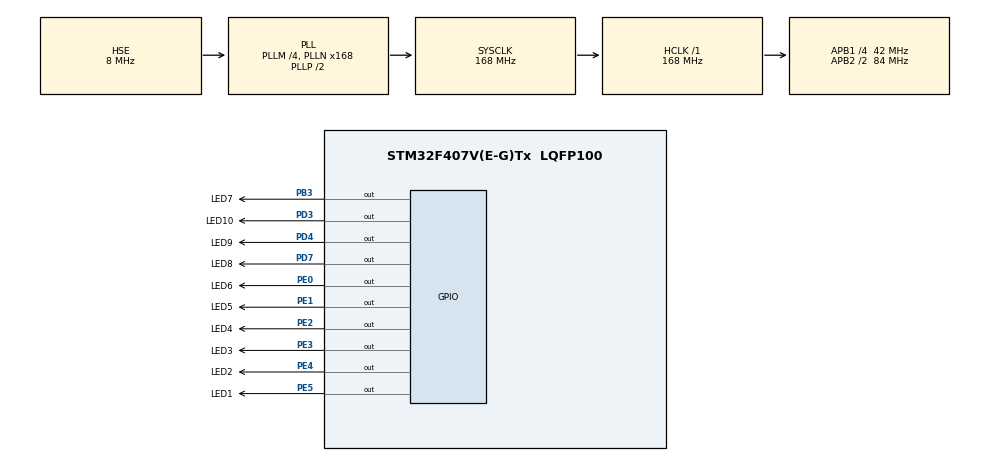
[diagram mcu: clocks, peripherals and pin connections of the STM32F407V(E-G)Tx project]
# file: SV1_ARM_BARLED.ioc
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Mcu.Family=STM32F4
Mcu.Name=STM32F407V(E-G)Tx
Mcu.Package=LQFP100
NVIC.PriorityGroup=NVIC_PRIORITYGROUP_4
PA13.Mode=Serial_Wire
PA13.Signal=SYS_JTMS-SWDIO
PA14.Mode=Serial_Wire
PA14.Signal=SYS_JTCK-SWCLK
PB3.GPIO_Label=LED7
PB3.Signal=GPIO_Output
PD3.GPIO_Label=LED10
PD3.Signal=GPIO_Output
PD4.GPIO_Label=LED9
PD4.Signal=GPIO_Output
PD7.GPIO_Label=LED8
PD7.Signal=GPIO_Output
PE0.GPIO_Label=LED6
PE0.Signal=GPIO_Output
PE1.GPIO_Label=LED5
PE1.Signal=GPIO_Output
PE2.GPIO_Label=LED4
PE2.Signal=GPIO_Output
PE3.GPIO_Label=LED3
PE3.Signal=GPIO_Output
PE4.GPIO_Label=LED2
PE4.GPIO_Speed=GPIO_SPEED_FREQ_LOW
PE4.Signal=GPIO_Output
PE5.GPIO_Label=LED1
PE5.Signal=GPIO_Output
PH0-OSC_IN.Mode=HSE-External-Oscillator
PH0-OSC_IN.Signal=RCC_OSC_IN
PH1-OSC_OUT.Mode=HSE-External-Oscillator
PH1-OSC_OUT.Signal=RCC_OSC_OUT
ProjectManager.HeapSize=0x200
ProjectManager.StackSize=0x400
ProjectManager.TargetToolchain=STM32CubeIDE
RCC.48MHZClocksFreq_Value=84000000
RCC.AHBFreq_Value=168000000
RCC.APB1CLKDivider=RCC_HCLK_DIV4
RCC.APB1Freq_Value=42000000
RCC.APB1TimFreq_Value=84000000
RCC.APB2CLKDivider=RCC_HCLK_DIV2
RCC.APB2Freq_Value=84000000
RCC.APB2TimFreq_Value=168000000
RCC.CortexFreq_Value=168000000
RCC.HCLKFreq_Value=168000000
RCC.HSE_VALUE=8000000
RCC.HSI_VALUE=16000000
RCC.LSE_VALUE=32768
RCC.PLLM=4
RCC.PLLN=168
RCC.PLLSourceVirtual=RCC_PLLSOURCE_HSE
RCC.SYSCLKFreq_VALUE=168000000
RCC.SYSCLKSource=RCC_SYSCLKSOURCE_PLLCLK
RCC.VCOOutputFreq_Value=336000000
board=custom

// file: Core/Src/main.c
/* USER CODE BEGIN Header */
/**
  ******************************************************************************
  * @file           : main.c
  * @brief          : Main program body
  ******************************************************************************
  * @attention
  *
  * <h2><center>&copy; Copyright (c) 2020 STMicroelectronics.
  * All rights reserved.</center></h2>
  *
  * This software component is licensed by ST under BSD 3-Clause license,
  * the "License"; You may not use this file except in compliance with the
  * License. You may obtain a copy of the License at:
  *                        opensource.org/licenses/BSD-3-Clause
  *
  ******************************************************************************
  */
/* USER CODE END Header */
#include "main.h"

/* USER CODE BEGIN Includes */
#define Time 100
/* USER CODE END Includes */

void SystemClock_Config(void);
static void MX_GPIO_Init(void);

int main(void)
{

  /* MCU Configuration--------------------------------------------------------*/

  /* Reset of all peripherals, Initializes the Flash interface and the Systick. */
  HAL_Init();

  /* Configure the system clock */
  SystemClock_Config();

  /* Initialize all configured peripherals */
  MX_GPIO_Init();

  /* Infinite loop */
  /* USER CODE BEGIN WHILE */
  while (1)
  {
	  	  HAL_GPIO_TogglePin(LED1_GPIO_Port, LED1_Pin);
	  	  HAL_Delay(Time);
	  	  HAL_GPIO_TogglePin(LED2_GPIO_Port, LED2_Pin);
	  	  HAL_Delay(Time);
	  	  HAL_GPIO_TogglePin(LED3_GPIO_Port, LED3_Pin);
	  	  HAL_Delay(Time);
	  	  HAL_GPIO_TogglePin(LED4_GPIO_Port, LED4_Pin);
	  	  HAL_Delay(Time);
	  	  HAL_GPIO_TogglePin(LED5_GPIO_Port, LED5_Pin);
	  	  HAL_Delay(Time);
	  	  HAL_GPIO_TogglePin(LED6_GPIO_Port, LED6_Pin);
	  	  HAL_Delay(Time);
	  	  HAL_GPIO_TogglePin(LED7_GPIO_Port, LED7_Pin);
	  	  HAL_Delay(Time);
	  	  HAL_GPIO_TogglePin(LED8_GPIO_Port, LED8_Pin);
	  	  HAL_Delay(Time);
	  	  HAL_GPIO_TogglePin(LED9_GPIO_Port, LED9_Pin);
	  	  HAL_Delay(Time);
	  	  HAL_GPIO_TogglePin(LED10_GPIO_Port, LED10_Pin);
	  	  HAL_Delay(Time);

    /* USER CODE END WHILE */

  }
}

void SystemClock_Config(void)
{
  RCC_OscInitTypeDef RCC_OscInitStruct = {0};
  RCC_ClkInitTypeDef RCC_ClkInitStruct = {0};

  /** Configure the main internal regulator output voltage
  */
  __HAL_RCC_PWR_CLK_ENABLE();
  __HAL_PWR_VOLTAGESCALING_CONFIG(PWR_REGULATOR_VOLTAGE_SCALE1);
  /** Initializes the RCC Oscillators according to the specified parameters
  * in the RCC_OscInitTypeDef structure.
  */
  RCC_OscInitStruct.OscillatorType = RCC_OSCILLATORTYPE_HSE;
  RCC_OscInitStruct.HSEState = RCC_HSE_ON;
  RCC_OscInitStruct.PLL.PLLState = RCC_PLL_ON;
  RCC_OscInitStruct.PLL.PLLSource = RCC_PLLSOURCE_HSE;
  RCC_OscInitStruct.PLL.PLLM = 4;
  RCC_OscInitStruct.PLL.PLLN = 168;
  RCC_OscInitStruct.PLL.PLLP = RCC_PLLP_DIV2;
  RCC_OscInitStruct.PLL.PLLQ = 4;
  if (HAL_RCC_OscConfig(&RCC_OscInitStruct) != HAL_OK)
  {
    Error_Handler();
  }
  /** Initializes the CPU, AHB and APB buses clocks
  */
  RCC_ClkInitStruct.ClockType = RCC_CLOCKTYPE_HCLK|RCC_CLOCKTYPE_SYSCLK
                              |RCC_CLOCKTYPE_PCLK1|RCC_CLOCKTYPE_PCLK2;
  RCC_ClkInitStruct.SYSCLKSource = RCC_SYSCLKSOURCE_PLLCLK;
  RCC_ClkInitStruct.AHBCLKDivider = RCC_SYSCLK_DIV1;
  RCC_ClkInitStruct.APB1CLKDivider = RCC_HCLK_DIV4;
  RCC_ClkInitStruct.APB2CLKDivider = RCC_HCLK_DIV2;

  if (HAL_RCC_ClockConfig(&RCC_ClkInitStruct, FLASH_LATENCY_5) != HAL_OK)
  {
    Error_Handler();
  }
}

static void MX_GPIO_Init(void)
{
  GPIO_InitTypeDef GPIO_InitStruct = {0};

  /* GPIO Ports Clock Enable */
  __HAL_RCC_GPIOE_CLK_ENABLE();
  __HAL_RCC_GPIOH_CLK_ENABLE();
  __HAL_RCC_GPIOA_CLK_ENABLE();
  __HAL_RCC_GPIOD_CLK_ENABLE();
  __HAL_RCC_GPIOB_CLK_ENABLE();

  /*Configure GPIO pin Output Level */
  HAL_GPIO_WritePin(GPIOE, LED4_Pin|LED3_Pin|LED2_Pin|LED1_Pin
                          |LED6_Pin|LED5_Pin, GPIO_PIN_RESET);

  /*Configure GPIO pin Output Level */
  HAL_GPIO_WritePin(GPIOD, LED10_Pin|LED9_Pin|LED8_Pin, GPIO_PIN_RESET);

  /*Configure GPIO pin Output Level */
  HAL_GPIO_WritePin(LED7_GPIO_Port, LED7_Pin, GPIO_PIN_RESET);

  /*Configure GPIO pins : LED4_Pin LED3_Pin LED2_Pin LED1_Pin
                           LED6_Pin LED5_Pin */
  GPIO_InitStruct.Pin = LED4_Pin|LED3_Pin|LED2_Pin|LED1_Pin
                          |LED6_Pin|LED5_Pin;
  GPIO_InitStruct.Mode = GPIO_MODE_OUTPUT_PP;
  GPIO_InitStruct.Pull = GPIO_NOPULL;
  GPIO_InitStruct.Speed = GPIO_SPEED_FREQ_LOW;
  HAL_GPIO_Init(GPIOE, &GPIO_InitStruct);

  /*Configure GPIO pins : LED10_Pin LED9_Pin LED8_Pin */
  GPIO_InitStruct.Pin = LED10_Pin|LED9_Pin|LED8_Pin;
  GPIO_InitStruct.Mode = GPIO_MODE_OUTPUT_PP;
  GPIO_InitStruct.Pull = GPIO_NOPULL;
  GPIO_InitStruct.Speed = GPIO_SPEED_FREQ_LOW;
  HAL_GPIO_Init(GPIOD, &GPIO_InitStruct);

  /*Configure GPIO pin : LED7_Pin */
  GPIO_InitStruct.Pin = LED7_Pin;
  GPIO_InitStruct.Mode = GPIO_MODE_OUTPUT_PP;
  GPIO_InitStruct.Pull = GPIO_NOPULL;
  GPIO_InitStruct.Speed = GPIO_SPEED_FREQ_LOW;
  HAL_GPIO_Init(LED7_GPIO_Port, &GPIO_InitStruct);

}

void Error_Handler(void)
{
}

/************************ (C) COPYRIGHT STMicroelectronics *****END OF FILE****/
